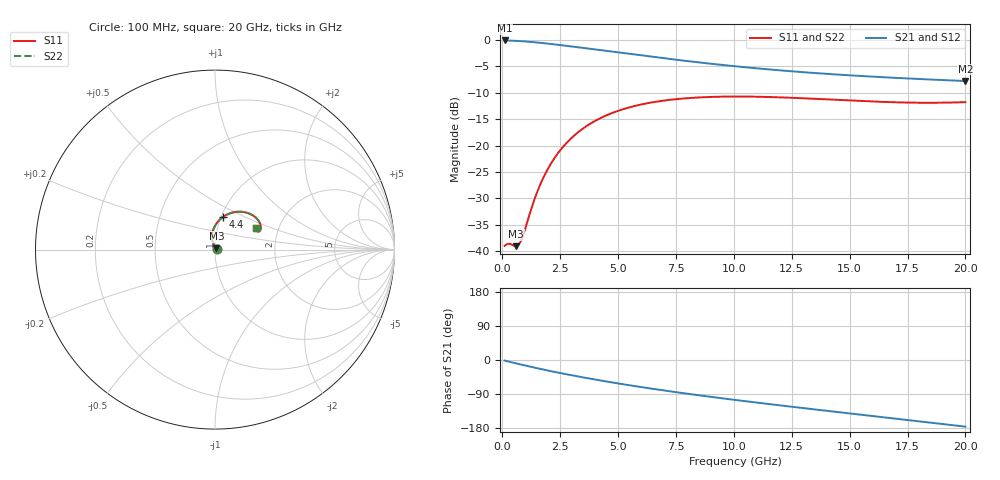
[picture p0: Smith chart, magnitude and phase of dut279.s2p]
! Touchstone file exported from HFSS 2024.1.0
!  File:  C:/UserFiles/LocalFiles/RDL_TSV_Batchsim/temp_RDL_TSV_279_1779463619.aedt
!  Generated:  11:45:39 PM May 22, 2026
!  Design:  RDL_TSV
!  Project:  temp_RDL_TSV_279_1779463619
!  Setup:  Setup1
!  Solution:  Sweep
! Variables:
!  dtsv = 9.35um
!  hbump = 3um
!  htsv = 63.6um
!  ldown = 633.54um
!  lrdl = 176.21um
!  p = 40
!  p1 = 47um
!  rhole = 10um
!  subl = 2605.46um
!  t = 450um
!  tdown = 4.15um
!  trdl = 4.61um
!  viad = 10um
!  wdown = 22.84um
!  wrdl = 17.36um
!  xbump = 18um
# GHz S MA R 50.000000
! Terminal data exported
! Port[1] = TM1_1_T1
! Port[2] = TM1_4_T1
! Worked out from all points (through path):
!   200 points, 100 MHz to 20 GHz, reference 50 ohm
!   highest |S21| = -0.10 dB at 100 MHz (marker M1); lowest = -7.8 dB at 20 GHz (marker M2)
!   group delay of S21, straight-line fit = 23.1 ps
!   lowest |S11| = -39.1 dB at 600 MHz (marker M3), VSWR 1.02, Z = 50.8 + j0.801 ohm
!   |S11| at or under -10 dB: start of sweep to end of sweep
!   |S22| runs from -39.1 to -10.7 dB; largest |S21 - S12| = 2e-12
!   S11 on the Smith chart (normalised r, x): 100 MHz: 1.02, +0.00; 4.4 GHz: 1.02, +0.39; 20 GHz: 1.53, +0.39
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0.1  0.01124 8.8  0.9885 -1.5  0.9885 -1.5  0.01124 8.8
! Gamma 0 0 0 0
! Port Impedance 50 0 50 0
0.3  0.01176 20.7  0.9859 -4.6  0.9859 -4.6  0.01176 20.7
0.6  0.01115 45.0  0.9794 -9.0  0.9794 -9.0  0.01115 44.9
0.7  0.01145 56.8  0.9767 -10.4  0.9767 -10.4  0.01145 56.8
0.8  0.01241 69.0  0.9737 -11.9  0.9737 -11.9  0.0124 69.0
0.9  0.01412 79.9  0.9704 -13.3  0.9704 -13.3  0.01411 79.8
1.3  0.0271 102.3  0.9549 -18.9  0.9549 -18.9  0.02708 102.3
1.5  0.03599 105.3  0.9459 -21.6  0.9459 -21.6  0.03596 105.3
1.7  0.04586 106.0  0.9363 -24.3  0.9363 -24.3  0.04582 106.0
2  0.06187 104.6  0.9211 -28.1  0.9211 -28.1  0.06183 104.6
2.3  0.07872 101.7  0.9053 -31.9  0.9053 -31.9  0.07867 101.7
2.7  0.1016 97.0  0.8837 -36.8  0.8837 -36.8  0.1015 97.0
3.5  0.1457 86.7  0.8402 -46.0  0.8402 -46.0  0.1456 86.7
4.4  0.189 75.8  0.7925 -55.7  0.7925 -55.7  0.1889 75.8
5.5  0.2303 64.1  0.7373 -66.7  0.7373 -66.7  0.2302 64.1
6.8  0.2632 52.8  0.6782 -78.8  0.6782 -78.8  0.2631 52.7
8.4  0.2847 41.8  0.6158 -92.4  0.6158 -92.4  0.2845 41.8
10.1  0.2911 33.2  0.5619 -105.7  0.5619 -105.7  0.2909 33.2
11.7  0.2874 27.5  0.5215 -117.6  0.5215 -117.6  0.2871 27.5
13.4  0.2777 23.9  0.4876 -129.8  0.4876 -129.8  0.2774 23.8
16.7  0.2578 23.1  0.4406 -152.8  0.4406 -152.8  0.2575 23.1
20  0.2576 27.9  0.4083 -175.9  0.4083 -175.9  0.2573 27.9
